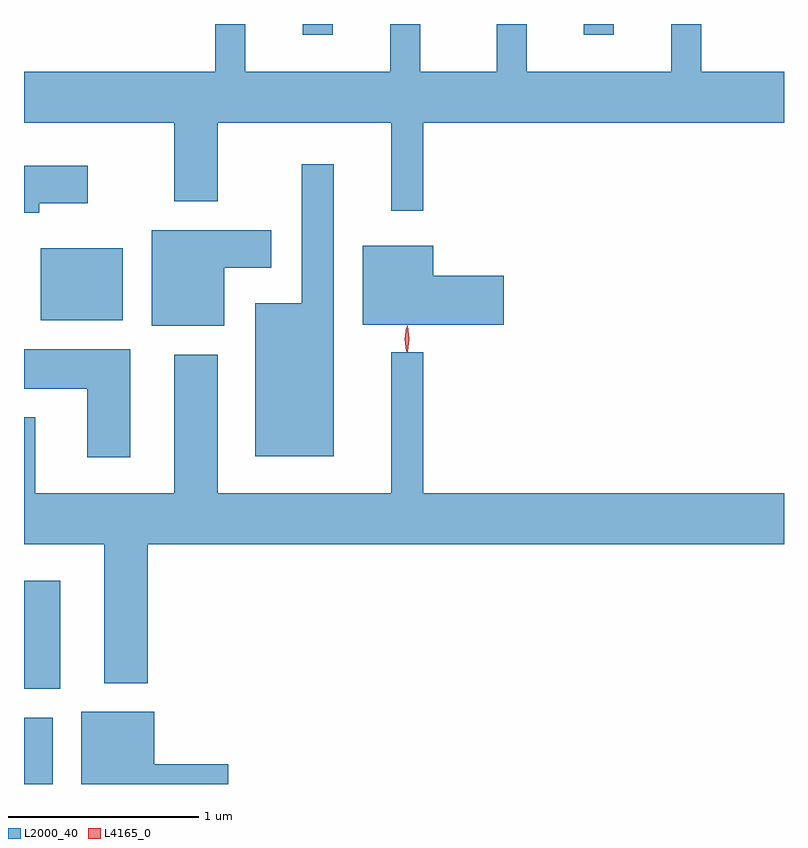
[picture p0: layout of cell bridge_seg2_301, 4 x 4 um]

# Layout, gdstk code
import gdstk
lib = gdstk.Library(unit=1e-6, precision=1e-09)
def R(c, l, rs):  # rectangles x0, y0, x1, y1
    for r in rs: c.add(gdstk.rectangle(r[:2], r[2:], *l))
def P(c, l, *ps):  # polygons
    for p in ps: c.add(gdstk.Polygon(p, *l))
L2000_40 = (2000, 40)
L4165_0 = (4165, 0)

bridge_seg2_301 = lib.new_cell('bridge_seg2_301')
R(bridge_seg2_301, L2000_40, [(440.519,1064.815,440.669,1065.164), (440.519,1065.316,440.709,1065.884), (440.606,1067.256,441.039,1067.634), (441.986,1068.758,442.144,1068.815), (443.466,1068.758,443.624,1068.815)])
P(bridge_seg2_301, L2000_40, [(442.619,1068.296),(444.519,1068.296),(444.519,1068.564),(444.084,1068.564),(444.084,1068.815),(443.926,1068.815),(443.926,1068.564),(443.164,1068.564),(443.164,1068.815),(443.006,1068.815),(443.006,1068.564),(442.604,1068.564),(442.604,1068.815),(442.446,1068.815),(442.446,1068.564),(441.684,1068.564),(441.684,1068.815),(441.526,1068.815),(441.526,1068.564),(440.519,1068.564),(440.519,1068.296),(441.311,1068.296),(441.311,1067.881),(441.539,1067.881),(441.539,1068.296),(442.451,1068.296),(442.451,1067.833),(442.619,1067.833)],
  [(442.149,1068.078),(441.981,1068.078),(441.981,1067.344),(441.736,1067.344),(441.736,1066.541),(442.149,1066.541)],
  [(440.599,1067.871),(440.854,1067.871),(440.854,1068.069),(440.519,1068.069),(440.519,1067.821),(440.599,1067.821)],
  [(441.574,1067.531),(441.819,1067.531),(441.819,1067.729),(441.191,1067.729),(441.191,1067.226),(441.574,1067.226)],
  [(443.044,1067.489),(442.674,1067.489),(442.674,1067.649),(442.301,1067.649),(442.301,1067.231),(443.044,1067.231)],
  [(441.079,1067.104),(440.519,1067.104),(440.519,1066.896),(440.851,1066.896),(440.851,1066.536),(441.079,1066.536)],
  [(441.169,1066.076),(444.519,1066.076),(444.519,1066.344),(442.619,1066.344),(442.619,1067.088),(442.451,1067.088),(442.451,1066.344),(441.539,1066.344),(441.539,1067.074),(441.311,1067.074),(441.311,1066.344),(440.579,1066.344),(440.579,1066.744),(440.519,1066.744),(440.519,1066.076),(440.941,1066.076),(440.941,1065.346),(441.169,1065.346)],
  [(441.594,1064.919),(441.204,1064.919),(441.204,1065.194),(440.821,1065.194),(440.821,1064.815),(441.594,1064.815)])
P(bridge_seg2_301, L4165_0, [(442.537,1067.09),(442.528,1067.158),(442.537,1067.226),(442.538,1067.226),(442.538,1067.226),(442.547,1067.158),(442.538,1067.09),(442.538,1067.09)],
  [(442.532,1067.093),(442.532,1067.093),(442.522,1067.156),(442.531,1067.219),(442.532,1067.22),(442.532,1067.219),(442.542,1067.156),(442.533,1067.093)])

lib.write_gds('bridge_seg2_301.gds')
